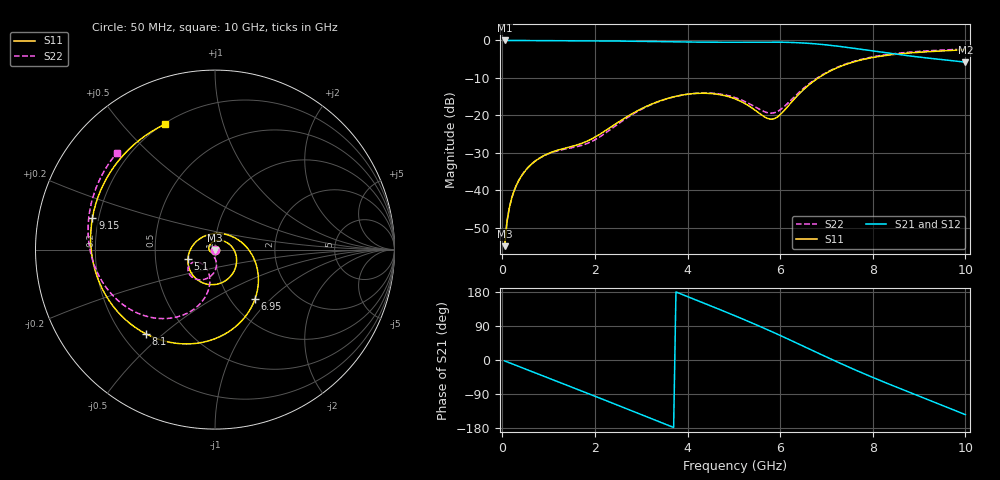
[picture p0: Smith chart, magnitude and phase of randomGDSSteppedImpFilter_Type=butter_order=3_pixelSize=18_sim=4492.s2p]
! freq	dB(S11)	phase(S11)	dB(S12)	phase(S12)
!  dB(S21)	phase(S21)	dB(S22)	phase(S22)
!S-par simulation data
#  GHz  S  DB  R 50
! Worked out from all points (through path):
!   200 points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, 50 MHz to 10 GHz, reference 50 ohm
!   highest |S21| = 0.00 dB at 50 MHz (marker M1); lowest = -5.8 dB at 10 GHz (marker M2)
!   group delay of S21, straight-line fit = 142 ps
!   lowest |S11| = -54.9 dB at 50 MHz (marker M3), VSWR 1.00, Z = 50 - j0.181 ohm
!   |S11| at or under -10 dB: start of sweep to 6.824 GHz
!   |S22| runs from -54.8 to -2.3 dB; largest |S21 - S12| = 0
!   S11 on the Smith chart (normalised r, x): 50 MHz: 1.00, -0.00; 5.1 GHz: 0.73, -0.08; 6.95 GHz: 1.29, -0.81; 8.1 GHz: 0.30, -0.44; 9.15 GHz: 0.18, +0.12; 10 GHz: 0.21, +0.66
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0.05  -54.87 -88.8  -0.00 -2.4  -0.00 -2.4  -54.82 -81.7
0.1  -48.54 -92.7  -0.01 -4.8  -0.01 -4.8  -48.28 -86.5
0.2  -42.22 -101.8  -0.02 -9.6  -0.02 -9.6  -42.14 -92.0
0.5  -34.70 -126.7  -0.03 -23.9  -0.03 -23.9  -34.64 -101.4
1.15  -29.44 178.1  -0.07 -54.8  -0.07 -54.8  -29.58 -109.7
1.75  -27.28 110.5  -0.10 -83.5  -0.10 -83.5  -27.85 -99.9
2.5  -21.83 25.7  -0.17 -119.7  -0.17 -119.7  -22.28 -83.7
3.4  -16.14 -44.8  -0.31 -163.4  -0.31 -163.4  -16.21 -100.9
4.2  -14.12 -97.1  -0.45 157.6  -0.45 157.6  -14.07 -125.6
5.05  -15.70 -157.0  -0.47 115.4  -0.47 115.4  -15.33 -148.2
5.1  -15.96 -161.3  -0.46 112.9  -0.46 112.9  -15.56 -148.9
5.85  -20.95 89.6  -0.44 73.2  -0.44 73.2  -19.35 -124.5
6.25  -16.38 16.3  -0.54 50.8  -0.54 50.8  -15.73 -100.2
6.7  -11.08 -30.4  -0.85 25.1  -0.85 25.1  -10.87 -103.0
6.95  -9.03 -50.8  -1.12 10.8  -1.12 10.8  -8.87 -110.4
7.55  -5.87 -93.8  -2.02 -22.4  -2.02 -22.4  -5.72 -133.0
8.1  -4.33 -129.4  -2.99 -51.0  -2.99 -51.0  -4.16 -154.6
8.35  -3.89 -145.0  -3.41 -63.5  -3.41 -63.5  -3.70 -164.2
8.75  -3.39 -169.6  -4.06 -83.1  -4.06 -83.1  -3.17 -179.0
9.15  -3.03 165.6  -4.65 -102.5  -4.65 -102.5  -2.80 166.4
9.55  -2.75 140.4  -5.19 -122.0  -5.19 -122.0  -2.53 151.9
10  -2.47 111.6  -5.79 -144.3  -5.79 -144.3  -2.29 135.2
